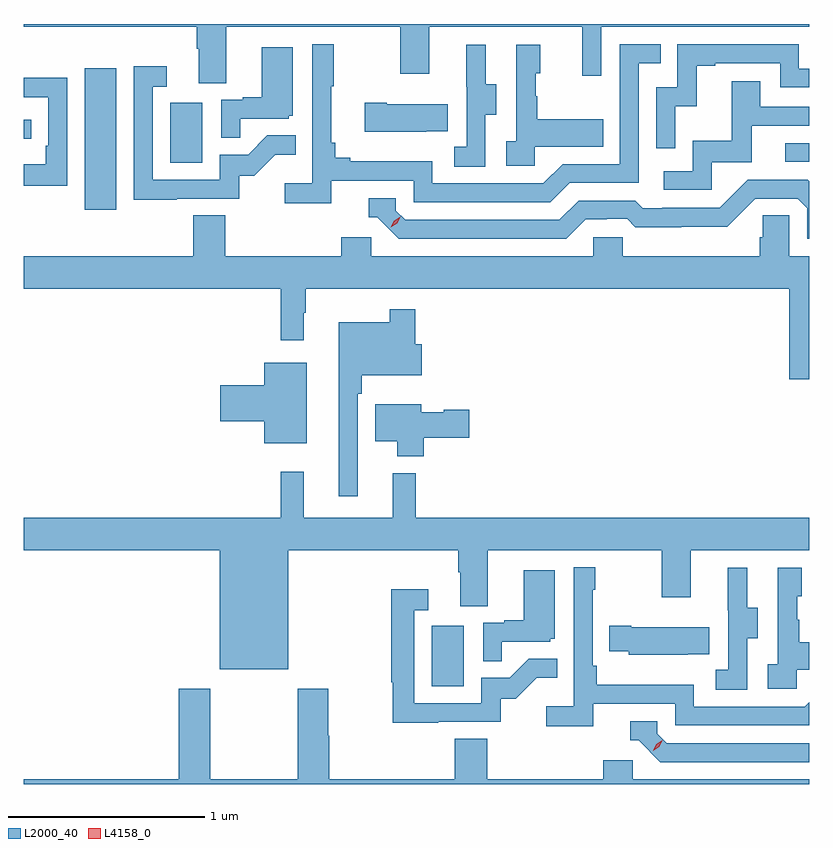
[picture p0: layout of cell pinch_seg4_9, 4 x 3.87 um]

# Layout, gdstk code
import gdstk
lib = gdstk.Library(unit=1e-6, precision=1e-09)
def R(c, l, rs):  # rectangles x0, y0, x1, y1
    for r in rs: c.add(gdstk.rectangle(r[:2], r[2:], *l))
def P(c, l, *ps):  # polygons
    for p in ps: c.add(gdstk.Polygon(p, *l))
L2000_40 = (2000, 40)
L4158_0 = (4158, 0)

pinch_seg4_9 = lib.new_cell('pinch_seg4_9')
R(pinch_seg4_9, L2000_40, [(1115.036,829.428,1115.2,829.735), (1113.269,831.852,1113.43,832.573), (1113.704,832.092,1113.868,832.399), (1116.837,832.098,1116.959,832.191), (1112.959,832.215,1112.998,832.311)])
P(pinch_seg4_9, L2000_40, [(1113.991,832.784),(1114.876,832.784),(1114.876,832.545),(1115.023,832.545),(1115.023,832.784),(1115.804,832.784),(1115.804,832.536),(1115.901,832.536),(1115.901,832.784),(1116.959,832.784),(1116.959,832.799),(1112.959,832.799),(1112.959,832.784),(1113.839,832.784),(1113.839,832.672),(1113.851,832.672),(1113.851,832.498),(1113.991,832.498)],
  [(1114.526,832.002),(1114.944,832.002),(1114.944,831.891),(1115.641,831.891),(1115.74,831.99),(1116.09,831.99),(1116.09,832.599),(1116.203,832.599),(1116.203,832.695),(1115.994,832.695),(1115.994,832.086),(1115.703,832.086),(1115.604,831.987),(1115.04,831.987),(1115.04,832.099),(1114.621,832.099),(1114.621,832.118),(1114.544,832.118),(1114.544,832.195),(1114.525,832.195),(1114.525,832.483),(1114.537,832.483),(1114.537,832.696),(1114.428,832.696),(1114.428,831.988),(1114.287,831.988),(1114.287,831.886),(1114.526,831.886)],
  [(1116.276,832.379),(1116.386,832.379),(1116.386,832.587),(1116.481,832.587),(1116.481,832.599),(1116.81,832.599),(1116.81,832.476),(1116.959,832.476),(1116.959,832.572),(1116.906,832.572),(1116.906,832.695),(1116.288,832.695),(1116.288,832.476),(1116.18,832.476),(1116.18,832.167),(1116.276,832.167)],
  [(1115.562,832.175),(1115.909,832.175),(1115.909,832.315),(1115.575,832.315),(1115.575,832.43),(1115.565,832.43),(1115.565,832.548),(1115.59,832.548),(1115.59,832.693),(1115.466,832.693),(1115.466,832.202),(1115.415,832.202),(1115.415,832.077),(1115.562,832.077)],
  [(1115.31,832.336),(1115.365,832.336),(1115.365,832.491),(1115.311,832.491),(1115.311,832.693),(1115.213,832.693),(1115.213,832.479),(1115.214,832.479),(1115.214,832.175),(1115.151,832.175),(1115.151,832.072),(1115.31,832.072)],
  [(1114.061,832.317),(1114.308,832.317),(1114.308,832.332),(1114.33,832.332),(1114.33,832.681),(1114.172,832.681),(1114.172,832.426),(1114.073,832.426),(1114.073,832.413),(1113.966,832.413),(1113.966,832.219),(1114.061,832.219)],
  [(1113.737,831.909),(1114.056,831.909),(1114.056,832.026),(1114.132,832.026),(1114.239,832.133),(1114.343,832.133),(1114.343,832.232),(1114.199,832.232),(1114.101,832.134),(1113.957,832.134),(1113.957,832.005),(1113.615,832.005),(1113.615,832.479),(1113.688,832.479),(1113.688,832.585),(1113.519,832.585),(1113.519,831.904),(1113.737,831.904)],
  [(1113.18,832.526),(1112.959,832.526),(1112.959,832.425),(1113.084,832.425),(1113.084,832.18),(1113.071,832.18),(1113.071,832.084),(1112.959,832.084),(1112.959,831.975),(1113.18,831.975)],
  [(1116.462,832.095),(1116.667,832.095),(1116.667,832.281),(1116.959,832.281),(1116.959,832.377),(1116.709,832.377),(1116.709,832.507),(1116.565,832.507),(1116.565,832.204),(1116.366,832.204),(1116.366,832.05),(1116.219,832.05),(1116.219,831.954),(1116.462,831.954)],
  [(1115.009,832.253),(1115.117,832.253),(1115.117,832.39),(1114.807,832.39),(1114.807,832.398),(1114.695,832.398),(1114.695,832.25),(1115.009,832.25)],
  [(1115.821,831.804),(1115.928,831.804),(1115.928,831.807),(1116.031,831.807),(1116.073,831.765),(1116.306,831.765),(1116.306,831.767),(1116.542,831.767),(1116.684,831.909),(1116.9,831.909),(1116.948,831.861),(1116.948,831.705),(1116.959,831.705),(1116.959,831.997),(1116.951,832.005),(1116.645,832.005),(1116.504,831.864),(1116.211,831.864),(1116.211,831.861),(1116.112,831.861),(1116.073,831.9),(1115.784,831.9),(1115.685,831.801),(1114.902,831.801),(1114.854,831.849),(1114.854,831.912),(1114.715,831.912),(1114.715,831.816),(1114.758,831.816),(1114.869,831.705),(1115.722,831.705)],
  [(1116.857,830.991),(1116.959,830.991),(1116.959,831.616),(1116.858,831.616),(1116.858,831.824),(1116.721,831.824),(1116.721,831.714),(1116.707,831.714),(1116.707,831.616),(1116.009,831.616),(1116.009,831.714),(1115.859,831.714),(1115.859,831.616),(1114.728,831.616),(1114.728,831.714),(1114.577,831.714),(1114.577,831.616),(1113.986,831.616),(1113.986,831.824),(1113.821,831.824),(1113.821,831.616),(1112.959,831.616),(1112.959,831.452),(1114.267,831.452),(1114.267,831.189),(1114.384,831.189),(1114.384,831.329),(1114.396,831.329),(1114.396,831.452),(1116.857,831.452)],
  [(1114.659,830.915),(1114.679,830.915),(1114.679,831.011),(1114.987,831.011),(1114.987,831.169),(1114.952,831.169),(1114.952,831.346),(1114.824,831.346),(1114.824,831.28),(1114.562,831.28),(1114.562,830.394),(1114.659,830.394)],
  [(1114.399,831.073),(1114.184,831.073),(1114.184,830.96),(1113.96,830.96),(1113.96,830.777),(1114.184,830.777),(1114.184,830.663),(1114.399,830.663)],
  [(1114.997,830.692),(1115.227,830.692),(1115.227,830.834),(1115.097,830.834),(1115.097,830.821),(1114.984,830.821),(1114.984,830.863),(1114.748,830.863),(1114.748,830.675),(1114.862,830.675),(1114.862,830.597),(1114.997,830.597)],
  [(1114.306,830.12),(1115.171,830.12),(1115.171,830.008),(1115.183,830.008),(1115.183,829.834),(1115.323,829.834),(1115.323,830.12),(1116.208,830.12),(1116.208,829.881),(1116.355,829.881),(1116.355,830.12),(1116.959,830.12),(1116.959,830.284),(1114.955,830.284),(1114.955,830.512),(1114.838,830.512),(1114.838,830.284),(1114.385,830.284),(1114.385,830.518),(1114.267,830.518),(1114.267,830.284),(1112.959,830.284),(1112.959,830.12),(1113.956,830.12),(1113.956,829.514),(1114.306,829.514)],
  [(1115.858,829.338),(1116.276,829.338),(1116.276,829.227),(1116.959,829.227),(1116.959,829.346),(1116.936,829.323),(1116.372,829.323),(1116.372,829.435),(1115.876,829.435),(1115.876,829.531),(1115.856,829.531),(1115.856,829.919),(1115.869,829.919),(1115.869,830.032),(1115.76,830.032),(1115.76,829.324),(1115.619,829.324),(1115.619,829.222),(1115.858,829.222)],
  [(1116.642,829.672),(1116.697,829.672),(1116.697,829.827),(1116.643,829.827),(1116.643,830.029),(1116.545,830.029),(1116.545,829.815),(1116.546,829.815),(1116.546,829.511),(1116.483,829.511),(1116.483,829.408),(1116.642,829.408)],
  [(1116.894,829.511),(1116.959,829.511),(1116.959,829.651),(1116.907,829.651),(1116.907,829.766),(1116.897,829.766),(1116.897,829.884),(1116.922,829.884),(1116.922,830.029),(1116.798,830.029),(1116.798,829.538),(1116.747,829.538),(1116.747,829.413),(1116.894,829.413)],
  [(1115.393,829.653),(1115.64,829.653),(1115.64,829.668),(1115.662,829.668),(1115.662,830.017),(1115.504,830.017),(1115.504,829.762),(1115.405,829.762),(1115.405,829.749),(1115.298,829.749),(1115.298,829.555),(1115.393,829.555)],
  [(1115.069,829.245),(1115.388,829.245),(1115.388,829.362),(1115.464,829.362),(1115.571,829.469),(1115.675,829.469),(1115.675,829.568),(1115.531,829.568),(1115.433,829.47),(1115.289,829.47),(1115.289,829.341),(1114.947,829.341),(1114.947,829.815),(1115.02,829.815),(1115.02,829.921),(1114.831,829.921),(1114.831,829.448),(1114.839,829.448),(1114.839,829.24),(1115.069,829.24)],
  [(1116.341,829.589),(1116.449,829.589),(1116.449,829.726),(1116.052,829.726),(1116.052,829.734),(1115.941,829.734),(1115.941,829.604),(1116.039,829.604),(1116.039,829.586),(1116.341,829.586)],
  [(1116.959,828.952),(1116.06,828.952),(1116.06,829.05),(1115.909,829.05),(1115.909,828.952),(1115.318,828.952),(1115.318,829.16),(1115.153,829.16),(1115.153,828.952),(1114.514,828.952),(1114.514,829.175),(1114.509,829.175),(1114.509,829.414),(1114.354,829.414),(1114.354,828.952),(1113.909,828.952),(1113.909,829.414),(1113.749,829.414),(1113.749,828.952),(1112.959,828.952),(1112.959,828.929),(1116.959,828.929)],
  [(1116.959,829.137),(1116.234,829.137),(1116.186,829.185),(1116.186,829.248),(1116.047,829.248),(1116.047,829.152),(1116.09,829.152),(1116.201,829.041),(1116.959,829.041)])
P(pinch_seg4_9, L4158_0, [(1114.828,831.765),(1114.828,831.765),(1114.845,831.798),(1114.876,831.817),(1114.876,831.817),(1114.876,831.817),(1114.86,831.784),(1114.829,831.765)],
  [(1116.164,829.098),(1116.164,829.098),(1116.18,829.131),(1116.21,829.151),(1116.21,829.151),(1116.21,829.15),(1116.194,829.118),(1116.164,829.098)])

lib.write_gds('pinch_seg4_9.gds')
